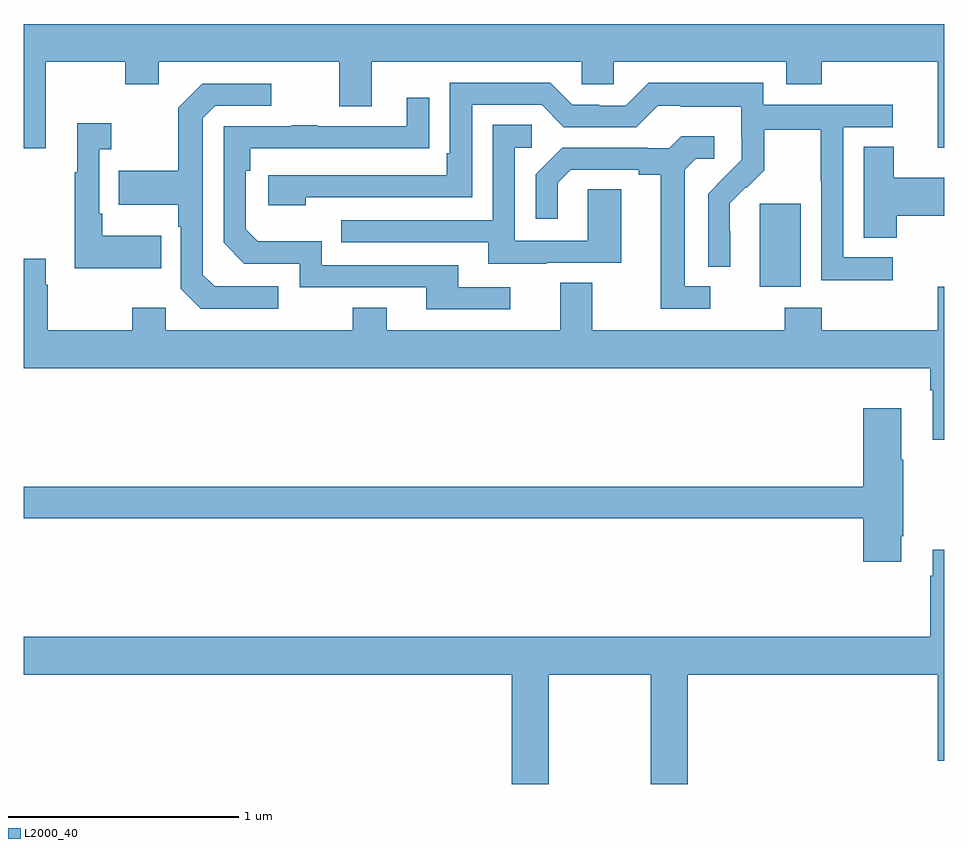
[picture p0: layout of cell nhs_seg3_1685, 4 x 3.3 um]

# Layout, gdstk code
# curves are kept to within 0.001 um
import gdstk
lib = gdstk.Library(unit=1e-6, precision=1e-09)
def R(c, l, rs):  # rectangles x0, y0, x1, y1
    for r in rs: c.add(gdstk.rectangle(r[:2], r[2:], *l))
def P(c, l, *ps):  # polygons
    for p in ps: c.add(gdstk.Polygon(p, *l))
L2000_40 = (2000, 40)

nhs_seg3_1685 = lib.new_cell('nhs_seg3_1685')
R(nhs_seg3_1685, L2000_40, [(200.198,742.562,200.377,742.923)])
P(nhs_seg3_1685, L2000_40, [(197.095,743.54),(197.44,743.54),(197.44,743.441),(197.587,743.441),(197.587,743.54),(198.371,743.54),(198.371,743.346),(198.511,743.346),(198.511,743.54),(199.425,743.54),(199.425,743.442),(199.563,743.442),(199.563,743.54),(200.315,743.54),(200.315,743.441),(200.468,743.441),(200.468,743.54),(200.972,743.54),(200.972,743.166),(201,743.166),(201,743.704),(197,743.704),(197,743.163),(197.095,743.163)],
  [(200.776,742.689),(200.562,742.689),(200.562,743.256),(200.776,743.256),(200.776,743.352),(200.214,743.352),(200.214,743.449),(199.717,743.449),(199.617,743.349),(199.502,743.349),(199.502,743.352),(199.383,743.352),(199.287,743.448),(198.852,743.448),(198.852,743.143),(198.839,743.143),(198.839,743.046),(198.063,743.046),(198.063,742.916),(198.224,742.916),(198.224,742.95),(198.948,742.95),(198.948,743.352),(199.251,743.352),(199.347,743.256),(199.662,743.256),(199.755,743.349),(199.855,743.349),(199.855,743.345),(200.118,743.345),(200.118,743.211),(200.12,743.211),(200.12,743.114),(199.974,742.966),(199.974,742.648),(200.07,742.648),(200.069,742.925),(200.139,742.995),(200.142,742.992),(200.219,743.069),(200.219,743.244),(200.464,743.244),(200.464,743.02),(200.466,743.02),(200.466,742.591),(200.776,742.591)],
  [(198.106,742.563),(197.829,742.563),(197.778,742.614),(197.778,743.295),(197.832,743.349),(198.076,743.349),(198.076,743.445),(197.775,743.445),(197.67,743.339),(197.67,743.067),(197.413,743.067),(197.413,742.919),(197.67,742.919),(197.67,742.823),(197.682,742.823),(197.682,742.554),(197.769,742.467),(198.106,742.467)],
  [(199.114,742.56),(198.889,742.56),(198.889,742.656),(198.294,742.656),(198.294,742.759),(198.017,742.759),(197.964,742.812),(197.964,743.066),(197.984,743.066),(197.984,743.163),(198.761,743.164),(198.761,743.383),(198.665,743.383),(198.665,743.259),(198.275,743.259),(198.275,743.264),(198.163,743.264),(198.163,743.259),(197.868,743.259),(197.868,742.752),(197.958,742.662),(198.198,742.662),(198.198,742.56),(198.749,742.56),(198.749,742.464),(199.114,742.464)],
  [(197.597,742.783),(197.341,742.783),(197.341,742.879),(197.328,742.879),(197.328,743.159),(197.38,743.159),(197.38,743.272),(197.231,743.272),(197.231,743.059),(197.22,743.059),(197.22,742.643),(197.597,742.643)],
  [(199.273,742.665),(199.597,742.665),(199.597,742.985),(199.452,742.985),(199.452,742.761),(199.134,742.761),(199.134,743.166),(199.207,743.166),(199.207,743.267),(199.038,743.267),(199.038,742.851),(198.379,742.851),(198.379,742.755),(199.019,742.755),(199.019,742.661),(199.273,742.661)],
  [(199.984,742.563),(199.873,742.563),(199.873,743.071),(199.92,743.118),(200.002,743.118),(200.002,743.215),(199.858,743.215),(199.806,743.163),(199.712,743.163),(199.712,743.166),(199.34,743.166),(199.224,743.05),(199.224,742.857),(199.321,742.857),(199.321,743.013),(199.378,743.07),(199.673,743.07),(199.673,743.048),(199.769,743.048),(199.769,742.467),(199.984,742.467)],
  [(200.795,742.87),(201,742.87),(201,743.035),(200.782,743.035),(200.782,743.171),(200.651,743.171),(200.651,742.774),(200.795,742.774)],
  [(201,742.561),(200.972,742.561),(200.972,742.372),(200.468,742.372),(200.468,742.471),(200.308,742.471),(200.308,742.372),(199.471,742.372),(199.471,742.58),(199.331,742.58),(199.331,742.372),(198.577,742.372),(198.577,742.471),(198.43,742.471),(198.43,742.372),(197.616,742.372),(197.616,742.471),(197.47,742.471),(197.47,742.372),(197.103,742.372),(197.103,742.571),(197.095,742.571),(197.095,742.684),(197,742.684),(197,742.208),(200.939,742.208),(200.939,742.112),(200.951,742.112),(200.951,741.897),(201,741.897)],
  [(200.815,741.478),(200.823,741.478),(200.823,741.809),(200.815,741.809),(200.815,742.033),(200.648,742.033),(200.648,741.692),(197,741.692),(197,741.556),(200.648,741.556),(200.648,741.366),(200.815,741.366)],
  [(199.281,740.876),(199.726,740.876),(199.726,740.4),(199.886,740.4),(199.886,740.876),(200.972,740.876),(200.972,740.502),(201,740.502),(201,741.418),(200.951,741.418),(200.951,741.305),(200.939,741.305),(200.939,741.04),(197,741.04),(197,740.876),(199.121,740.876),(199.121,740.4),(199.281,740.4)])

lib.write_gds('nhs_seg3_1685.gds')
